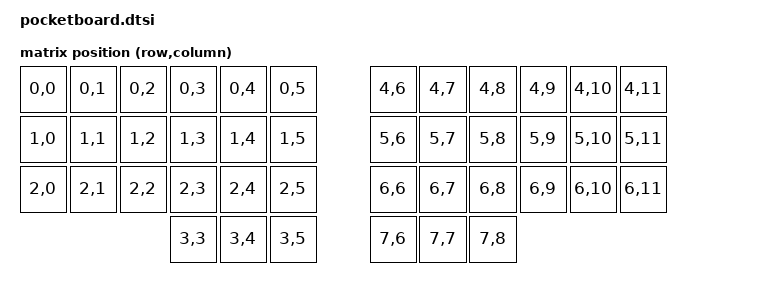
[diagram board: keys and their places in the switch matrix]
#include "pocketboard-layouts.dtsi"
#include <dt-bindings/zmk/matrix_transform.h>

/ {
    matrix_transform0: matrix_transform0 {
        compatible = "zmk,matrix-transform";
        columns = <12>;
        rows = <8>;
        map = <
            RC(0,0) RC(0,1) RC(0,2) RC(0,3) RC(0,4) RC(0,5) RC(4,6) RC(4,7) RC(4,8) RC(4,9) RC(4,10) RC(4,11)
            RC(1,0) RC(1,1) RC(1,2) RC(1,3) RC(1,4) RC(1,5) RC(5,6) RC(5,7) RC(5,8) RC(5,9) RC(5,10) RC(5,11)
            RC(2,0) RC(2,1) RC(2,2) RC(2,3) RC(2,4) RC(2,5) RC(6,6) RC(6,7) RC(6,8) RC(6,9) RC(6,10) RC(6,11)
            RC(3,3) RC(3,4) RC(3,5) RC(7,6) RC(7,7) RC(7,8)
        >;
    };
};

&physical_layout_pocketboard {
    transform = <&matrix_transform0>;
};

